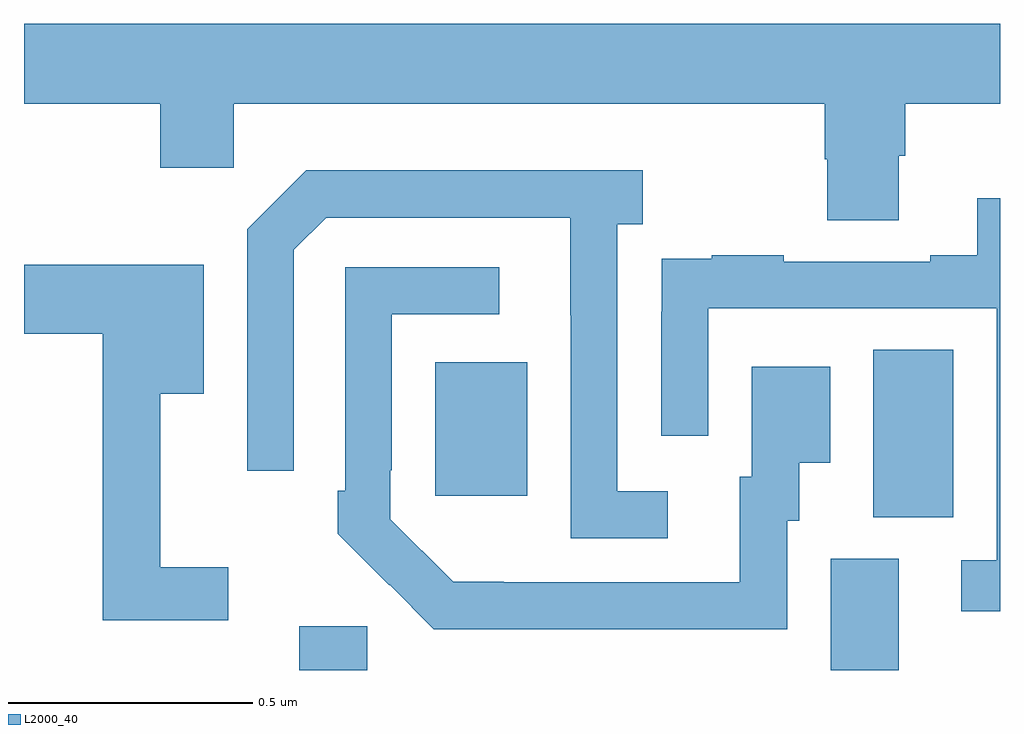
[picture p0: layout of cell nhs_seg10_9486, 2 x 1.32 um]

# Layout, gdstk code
import gdstk
lib = gdstk.Library(unit=1e-6, precision=1e-09)
def R(c, l, rs):  # rectangles x0, y0, x1, y1
    for r in rs: c.add(gdstk.rectangle(r[:2], r[2:], *l))
def P(c, l, *ps):  # polygons
    for p in ps: c.add(gdstk.Polygon(p, *l))
L2000_40 = (2000, 40)

nhs_seg10_9486 = lib.new_cell('nhs_seg10_9486')
R(nhs_seg10_9486, L2000_40, [(230.564,1288.5,230.703,1288.59), (231.653,1288.5,231.793,1288.728), (231.74,1288.813,231.904,1289.156), (230.843,1288.857,231.031,1289.131)])
P(nhs_seg10_9486, L2000_40, [(230,1289.66),(230.279,1289.66),(230.279,1289.529),(230.43,1289.529),(230.43,1289.66),(231.641,1289.66),(231.641,1289.547),(231.646,1289.547),(231.646,1289.422),(231.793,1289.422),(231.793,1289.554),(231.806,1289.554),(231.806,1289.66),(232,1289.66),(232,1289.824),(230,1289.824)],
  [(231.319,1288.866),(231.216,1288.866),(231.216,1289.414),(231.268,1289.414),(231.268,1289.524),(230.578,1289.524),(230.457,1289.403),(230.457,1288.908),(230.553,1288.908),(230.553,1289.361),(230.619,1289.427),(231.119,1289.427),(231.119,1289.227),(231.12,1289.227),(231.12,1288.77),(231.319,1288.77)],
  [(232,1289.467),(231.953,1289.467),(231.953,1289.35),(231.857,1289.35),(231.857,1289.337),(231.557,1289.337),(231.557,1289.35),(231.409,1289.35),(231.409,1289.343),(231.307,1289.343),(231.307,1289.234),(231.306,1289.234),(231.306,1288.98),(231.402,1288.98),(231.402,1289.241),(231.993,1289.241),(231.993,1288.725),(231.921,1288.725),(231.921,1288.62),(232,1288.62)],
  [(230.419,1288.711),(230.279,1288.711),(230.279,1289.066),(230.368,1289.066),(230.368,1289.331),(230,1289.331),(230,1289.189),(230.161,1289.189),(230.161,1288.602),(230.419,1288.602)],
  [(231.564,1288.806),(231.589,1288.806),(231.589,1288.925),(231.652,1288.925),(231.652,1289.122),(231.491,1289.122),(231.491,1288.896),(231.467,1288.896),(231.467,1288.68),(230.983,1288.68),(230.983,1288.681),(230.88,1288.681),(230.751,1288.809),(230.751,1288.909),(230.754,1288.909),(230.754,1289.229),(230.974,1289.229),(230.974,1289.325),(230.658,1289.325),(230.658,1288.867),(230.643,1288.867),(230.643,1288.779),(230.748,1288.674),(230.749,1288.675),(230.84,1288.584),(231.564,1288.584)])

lib.write_gds('nhs_seg10_9486.gds')
